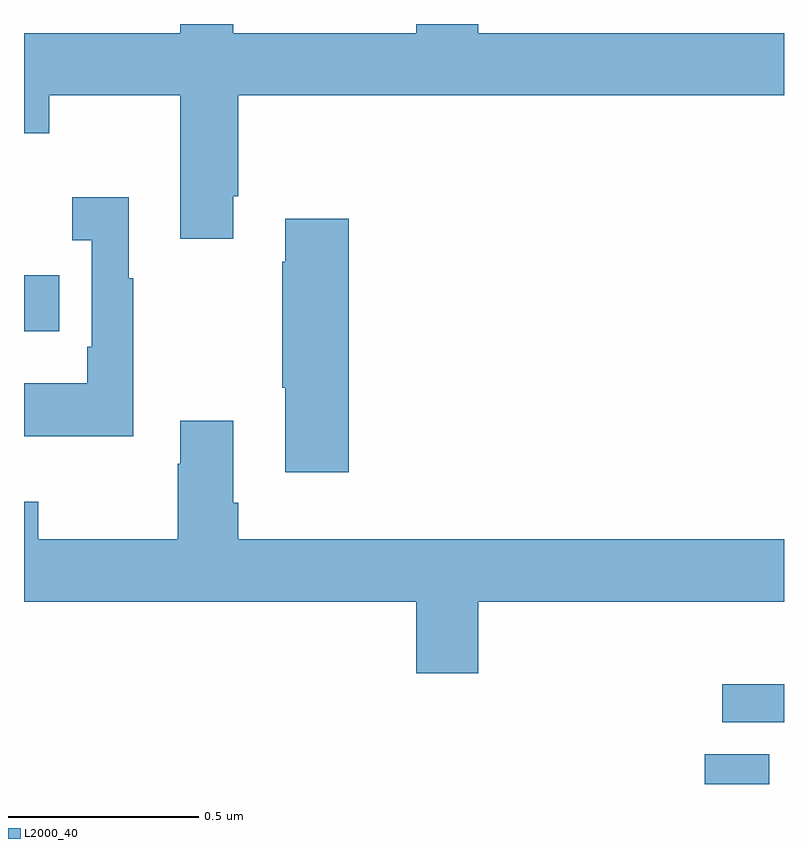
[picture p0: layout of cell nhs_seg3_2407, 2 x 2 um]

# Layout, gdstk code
import gdstk
lib = gdstk.Library(unit=1e-6, precision=1e-09)
def R(c, l, rs):  # rectangles x0, y0, x1, y1
    for r in rs: c.add(gdstk.rectangle(r[:2], r[2:], *l))
def P(c, l, *ps):  # polygons
    for p in ps: c.add(gdstk.Polygon(p, *l))
L2000_40 = (2000, 40)

nhs_seg3_2407 = lib.new_cell('nhs_seg3_2407')
R(nhs_seg3_2407, L2000_40, [(141.791,736.4,141.961,736.478), (141.837,736.563,142,736.662), (140,737.591,140.093,737.739)])
P(nhs_seg3_2407, L2000_40, [(140.411,738.4),(140.411,738.376),(140,738.376),(140,738.113),(140.067,738.113),(140.067,738.212),(140.411,738.212),(140.411,737.835),(140.551,737.835),(140.551,737.947),(140.564,737.947),(140.564,738.212),(142,738.212),(142,738.376),(141.196,738.376),(141.196,738.4),(141.032,738.4),(141.032,738.376),(140.551,738.376),(140.551,738.4)],
  [(140.287,737.731),(140.275,737.731),(140.275,737.944),(140.127,737.944),(140.127,737.831),(140.178,737.831),(140.178,737.551),(140.166,737.551),(140.166,737.455),(140,737.455),(140,737.315),(140.287,737.315)],
  [(140.855,737.887),(140.687,737.887),(140.687,737.774),(140.68,737.774),(140.68,737.443),(140.687,737.443),(140.687,737.22),(140.855,737.22)],
  [(141.196,736.88),(142,736.88),(142,737.044),(140.564,737.044),(140.564,737.14),(140.551,737.14),(140.551,737.356),(140.411,737.356),(140.411,737.243),(140.404,737.243),(140.404,737.044),(140.037,737.044),(140.037,737.143),(140,737.143),(140,736.88),(141.032,736.88),(141.032,736.692),(141.196,736.692)])

lib.write_gds('nhs_seg3_2407.gds')
